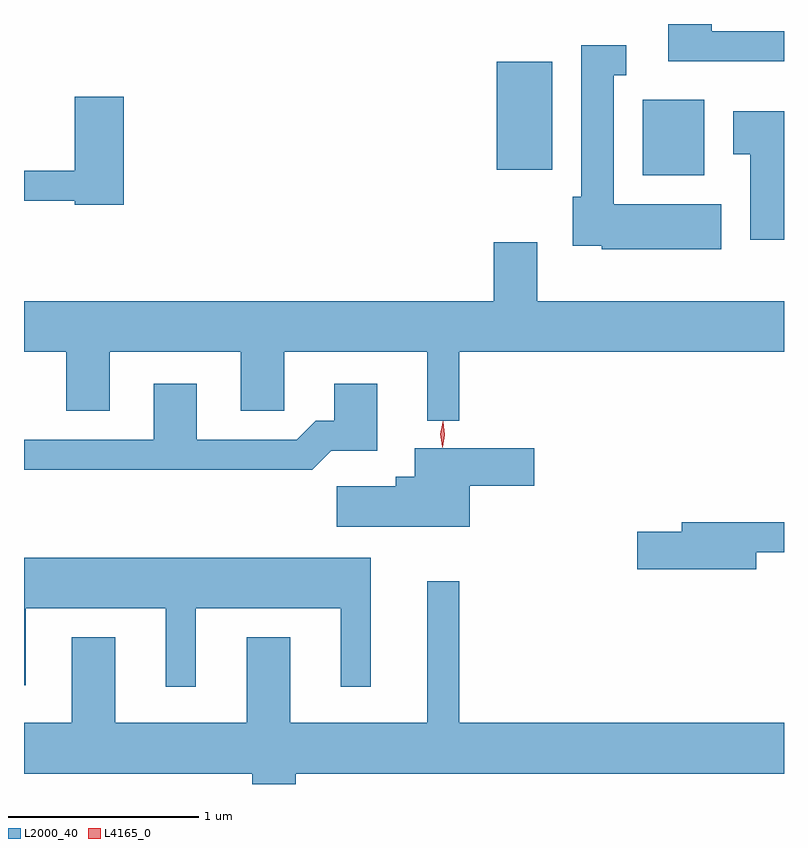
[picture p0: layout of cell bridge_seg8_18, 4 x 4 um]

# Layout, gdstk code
import gdstk
lib = gdstk.Library(unit=1e-6, precision=1e-09)
def R(c, l, rs):  # rectangles x0, y0, x1, y1
    for r in rs: c.add(gdstk.rectangle(r[:2], r[2:], *l))
def P(c, l, *ps):  # polygons
    for p in ps: c.add(gdstk.Polygon(p, *l))
L2000_40 = (2000, 40)
L4165_0 = (4165, 0)

bridge_seg8_18 = lib.new_cell('bridge_seg8_18')
R(bridge_seg8_18, L2000_40, [(1844.036,1877.306,1844.359,1877.704), (1843.266,1877.336,1843.559,1877.904)])
P(bridge_seg8_18, L2000_40, [(1844.779,1878.064),(1844.399,1878.064),(1844.399,1878.102),(1844.171,1878.102),(1844.171,1877.906),(1844.779,1877.906)],
  [(1844.449,1877.154),(1843.884,1877.154),(1843.884,1877.831),(1843.948,1877.831),(1843.948,1877.989),(1843.711,1877.989),(1843.711,1877.194),(1843.666,1877.194),(1843.666,1876.936),(1843.821,1876.936),(1843.821,1876.916),(1844.449,1876.916)],
  [(1841.304,1877.719),(1841.046,1877.719),(1841.046,1877.329),(1840.779,1877.329),(1840.779,1877.171),(1841.046,1877.171),(1841.046,1877.151),(1841.304,1877.151)],
  [(1844.779,1877.644),(1844.511,1877.644),(1844.511,1877.416),(1844.601,1877.416),(1844.601,1876.966),(1844.779,1876.966)],
  [(1840.779,1876.376),(1841.001,1876.376),(1841.001,1876.066),(1841.229,1876.066),(1841.229,1876.376),(1841.921,1876.376),(1841.921,1876.066),(1842.149,1876.066),(1842.149,1876.376),(1842.901,1876.376),(1842.901,1876.013),(1843.069,1876.013),(1843.069,1876.376),(1844.779,1876.376),(1844.779,1876.644),(1843.479,1876.644),(1843.479,1876.954),(1843.251,1876.954),(1843.251,1876.644),(1840.779,1876.644)],
  [(1842.397,1875.856),(1842.639,1875.856),(1842.639,1876.209),(1842.411,1876.209),(1842.411,1876.014),(1842.314,1876.014),(1842.214,1875.914),(1841.689,1875.914),(1841.689,1876.209),(1841.461,1876.209),(1841.461,1875.914),(1840.779,1875.914),(1840.779,1875.756),(1842.297,1875.756)],
  [(1843.124,1875.671),(1843.464,1875.671),(1843.464,1875.869),(1842.836,1875.869),(1842.836,1875.719),(1842.736,1875.719),(1842.736,1875.669),(1842.426,1875.669),(1842.426,1875.456),(1843.124,1875.456)],
  [(1844.634,1875.321),(1844.779,1875.321),(1844.779,1875.479),(1844.241,1875.479),(1844.241,1875.429),(1844.006,1875.429),(1844.006,1875.231),(1844.634,1875.231)],
  [(1841.684,1875.026),(1842.446,1875.026),(1842.446,1874.613),(1842.604,1874.613),(1842.604,1875.294),(1840.779,1875.294),(1840.779,1874.621),(1840.789,1874.621),(1840.789,1875.026),(1841.526,1875.026),(1841.526,1874.613),(1841.684,1874.613)],
  [(1842.209,1874.156),(1844.779,1874.156),(1844.779,1874.424),(1843.069,1874.424),(1843.069,1875.168),(1842.901,1875.168),(1842.901,1874.424),(1842.179,1874.424),(1842.179,1874.874),(1841.951,1874.874),(1841.951,1874.424),(1841.259,1874.424),(1841.259,1874.874),(1841.031,1874.874),(1841.031,1874.424),(1840.779,1874.424),(1840.779,1874.156),(1841.981,1874.156),(1841.981,1874.102),(1842.209,1874.102)])
P(bridge_seg8_18, L4165_0, [(1842.981,1875.874),(1842.981,1875.874),(1842.973,1875.942),(1842.984,1876.009),(1842.985,1876.01),(1842.985,1876.009),(1842.993,1875.941),(1842.982,1875.874)],
  [(1842.979,1875.878),(1842.979,1875.879),(1842.971,1875.943),(1842.982,1876.006),(1842.982,1876.006),(1842.982,1876.006),(1842.99,1875.942),(1842.98,1875.879)])

lib.write_gds('bridge_seg8_18.gds')
